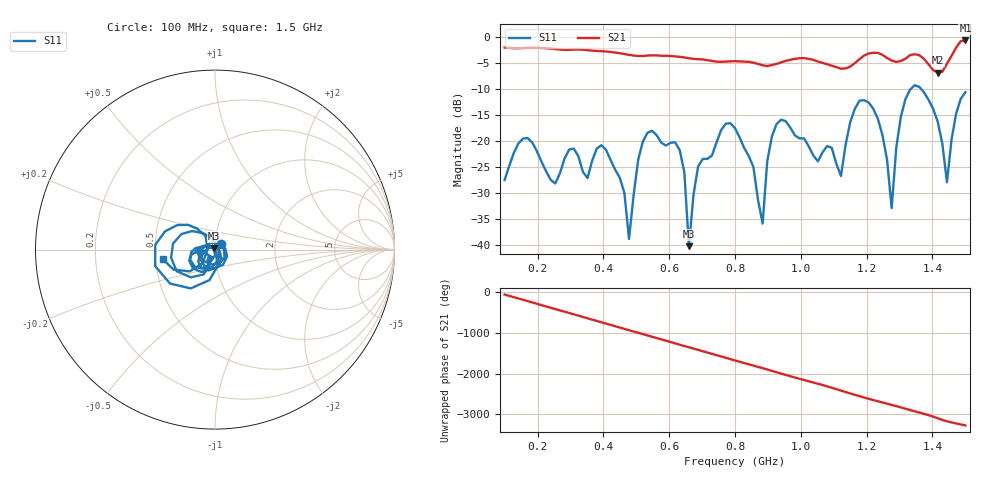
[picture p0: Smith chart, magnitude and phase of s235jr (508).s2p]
! NanoVNA-App
! Date: 2025-09-25 15:08:07
! Start: 100MHz Stop: 1,5GHz Points: 101
! S-Parameter data: F S11 S21 S12 S22
# Hz S RI R 50
!  Frequency  S11_Real  S11_Imag  S21_Real  S21_Imag  S12_Real  S12_Imag  S22_Real  S22_Imag
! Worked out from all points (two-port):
!   101 points, 100 MHz to 1.5 GHz, reference 50 ohm
!   highest |S21| = -0.60 dB at 1.5 GHz (marker M1); lowest = -6.8 dB at 1.416 GHz (marker M2)
!   |S21| within 3 dB of the highest: start of sweep to 602.8 MHz; 1.19 GHz to 1.253 GHz (62.97 MHz wide, 5.15 % of centre) (the widest 2 of 4)
!   lowest |S11| = -40.2 dB at 660 MHz (marker M3), VSWR 1.02, Z = 49.3 + j0.644 ohm
!   |S11| at or under -10 dB: start of sweep to 1.333 GHz; 1.366 GHz to end of sweep
!   S12 and S22 are empty: the file has one direction only
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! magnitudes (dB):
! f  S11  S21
! 100 MHz  -27.5  -2.0
! 170 MHz  -19.4  -2.0
! 338 MHz  -25.9  -2.4
! 408 MHz  -21.6  -2.7
! 478 MHz  -38.8  -3.4
! 520 MHz  -20.1  -3.6
! 576 MHz  -20.3  -3.5
! 632 MHz  -21.7  -3.7
! 660 MHz  -40.2  -4.0
! 688 MHz  -24.8  -4.2
! 800 MHz  -17.5  -4.6
! 884 MHz  -35.8  -5.4
! 926 MHz  -16.7  -5.1
! 1.038 GHz  -22.7  -4.3
! 1.122 GHz  -26.7  -6.0
! 1.206 GHz  -12.5  -3.1
! 1.276 GHz  -32.9  -4.5
! 1.304 GHz  -15.3  -4.5
! 1.332 GHz  -10.1  -3.4
! 1.416 GHz  -16.2  -6.8
! 1.444 GHz  -27.9  -5.1
! 1.5 GHz  -10.6  -0.6
